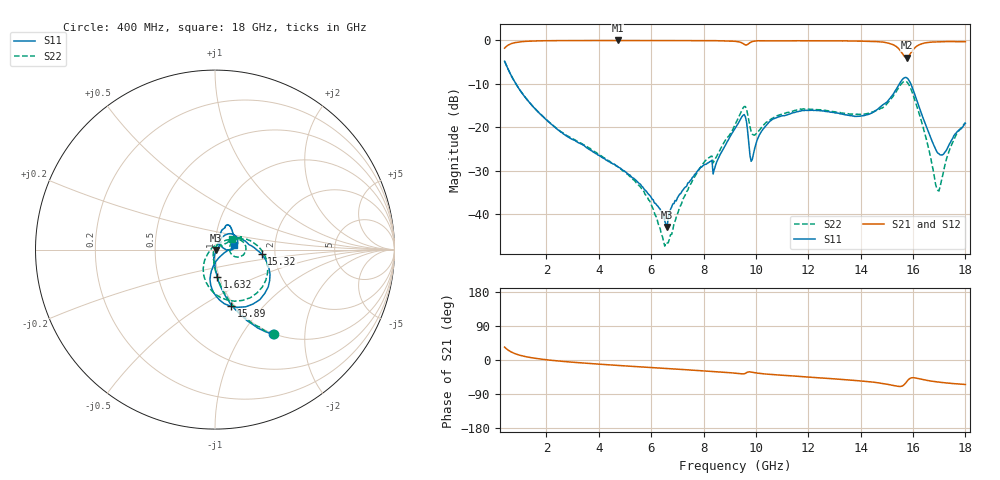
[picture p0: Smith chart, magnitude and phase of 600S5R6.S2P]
!  American Technical Ceramics  Date:  10/26/00
!  One Norden Lane
!  Huntington Station,  NY.  11746-2102
!  Tel:  (631) 622-4700  Fax:  (631) 622-4748
!  Part Number  600S5R6  Mounting Orientation: Horizontal
!  Description: Ultra Low ESR Microwave capacitors
!  Application: Coupling, Bypass, Tuning, DC Block
!  Filters, Matching
# GHZ S DB R 50
! Freq  |S11|  S11 Ph  |S21|  S21 Ph  |S12|  S12 Ph  |S22|  S22 Ph
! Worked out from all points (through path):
!   401 points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, 400 MHz to 18 GHz, reference 50 ohm
!   highest |S21| = -0.04 dB at 4.712 GHz (marker M1); lowest = -4.0 dB at 15.76 GHz (marker M2)
!   group delay of S21, straight-line fit = 12.1 ps
!   lowest |S11| = -43.0 dB at 6.604 GHz (marker M3), VSWR 1.01, Z = 50.7 - j0.152 ohm
!   |S11| at or under -10 dB: 827 MHz to 15.48 GHz (14.66 GHz wide, 180 % of centre); 15.91 GHz to end of sweep
!   |S22| runs from -47.4 to -4.8 dB; largest |S21 - S12| = 0.0069
!   S11 on the Smith chart (normalised r, x): 400 MHz: 0.99, -1.39; 1.632 GHz: 0.98, -0.31; 15.32 GHz: 1.70, -0.09; 15.89 GHz: 0.96, -0.68; 18 GHz: 1.24, +0.06
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0.4  -4.84 -55.6  -1.81 34.0  -1.81 34.0  -4.80 -55.0
1.632  -16.19 -85.2  -0.14 3.8  -0.14 3.7  -16.20 -85.0
3.348  -23.92 -94.8  -0.07 -7.7  -0.06 -7.7  -23.82 -95.4
4.712  -29.04 -94.8  -0.04 -14.3  -0.03 -14.3  -29.09 -105.8
5.636  -33.59 -86.5  -0.05 -18.3  -0.04 -18.4  -34.21 -118.1
6.296  -38.58 -56.8  -0.05 -21.2  -0.05 -21.2  -42.80 -135.7
6.604  -42.99 -12.2  -0.08 -22.6  -0.06 -22.6  -46.69 169.8
7.66  -30.89 39.7  -0.07 -27.1  -0.06 -27.1  -31.38 64.8
8.452  -28.91 66.0  -0.09 -30.8  -0.07 -30.7  -27.24 26.0
9.2  -20.31 56.1  -0.24 -34.8  -0.23 -34.8  -19.53 30.6
9.552  -17.11 25.5  -0.93 -36.4  -0.91 -36.4  -15.26 6.1
9.86  -27.43 46.6  -0.30 -32.3  -0.29 -32.4  -21.61 -6.4
10.564  -18.52 69.3  -0.13 -38.2  -0.12 -38.1  -18.20 25.1
12.148  -16.10 59.8  -0.12 -45.8  -0.11 -45.8  -15.92 25.1
14.04  -17.38 35.3  -0.20 -55.5  -0.18 -55.5  -17.02 27.4
15.096  -13.57 4.8  -0.73 -65.0  -0.71 -65.0  -13.92 14.5
15.316  -11.66 -5.4  -1.27 -68.1  -1.24 -67.9  -12.22 3.2
15.756  -8.64 -55.2  -3.98 -57.3  -3.96 -57.3  -9.56 -53.7
15.888  -9.68 -74.3  -3.16 -48.5  -3.12 -48.4  -10.81 -76.7
16.944  -25.96 -64.9  -0.34 -58.0  -0.34 -57.9  -34.55 138.8
17.516  -22.56 -3.3  -0.29 -62.1  -0.29 -62.0  -23.50 45.6
18  -19.11 13.4  -0.30 -64.6  -0.29 -64.5  -18.96 31.5
